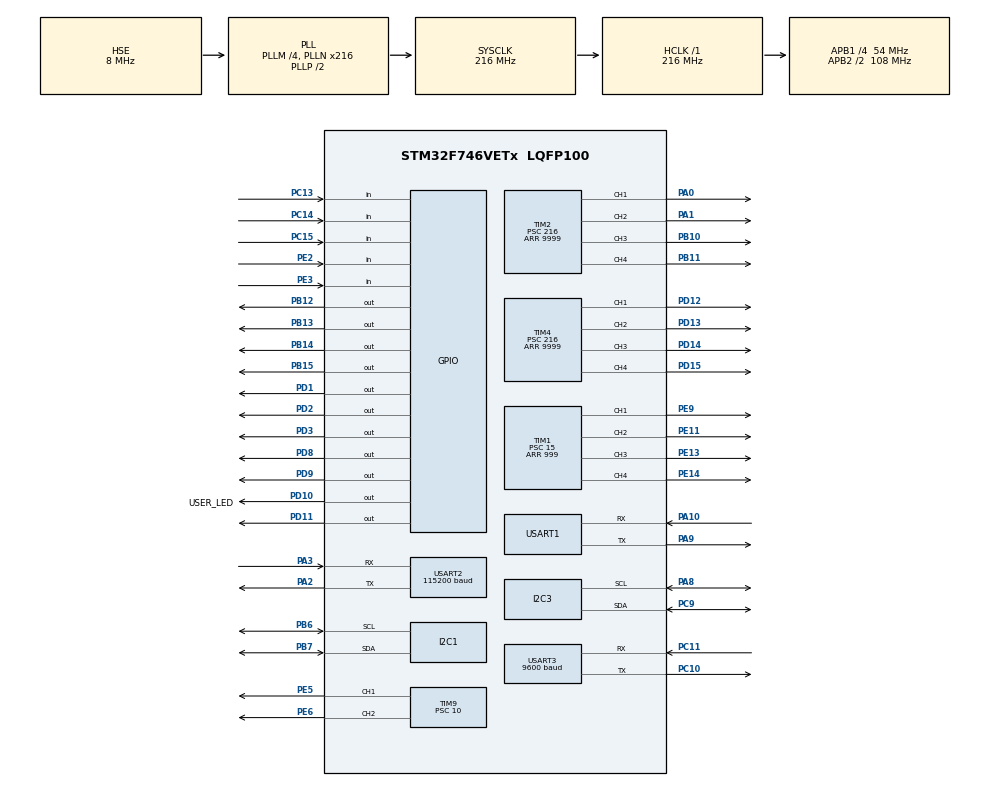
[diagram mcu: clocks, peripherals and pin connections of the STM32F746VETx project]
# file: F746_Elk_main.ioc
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CORTEX_M7.ART_ACCLERATOR_ENABLE=1
CORTEX_M7.CPU_DCache=Enabled
CORTEX_M7.CPU_ICache=Enabled
CORTEX_M7.FlashInterface=TCM_Enabled
Dma.Request0=USART1_RX
Dma.USART1_RX.0.Direction=DMA_PERIPH_TO_MEMORY
Dma.USART1_RX.0.FIFOMode=DMA_FIFOMODE_DISABLE
Dma.USART1_RX.0.Instance=DMA2_Stream2
Dma.USART1_RX.0.MemDataAlignment=DMA_MDATAALIGN_BYTE
Dma.USART1_RX.0.MemInc=DMA_MINC_ENABLE
Dma.USART1_RX.0.Mode=DMA_CIRCULAR
Dma.USART1_RX.0.PeriphDataAlignment=DMA_PDATAALIGN_BYTE
Dma.USART1_RX.0.PeriphInc=DMA_PINC_DISABLE
Dma.USART1_RX.0.Priority=DMA_PRIORITY_MEDIUM
I2C1.I2C_Fall_Time=300
I2C1.I2C_Rise_Time=1000
I2C1.Timing=0x40D32A31
I2C3.I2C_Fall_Time=300
I2C3.I2C_Rise_Time=1000
I2C3.Timing=0x40D32A31
IWDG.Prescaler=IWDG_PRESCALER_32
Mcu.Family=STM32F7
Mcu.Name=STM32F746VETx
Mcu.Package=LQFP100
NVIC.DMA2_Stream2_IRQn=true\:1\:0\:true\:false\:true\:true
NVIC.PriorityGroup=NVIC_PRIORITYGROUP_4
NVIC.TIM6_DAC_IRQn=true\:3\:0\:true\:false\:true\:true
NVIC.USART1_IRQn=true\:2\:0\:true\:false\:true\:true
PA0/WKUP.Signal=S_TIM2_CH1_ETR
PA1.Signal=S_TIM2_CH2
PA10.Mode=Asynchronous
PA10.Signal=USART1_RX
PA13.Mode=Serial_Wire
PA13.Signal=SYS_JTMS-SWDIO
PA14.Mode=Serial_Wire
PA14.Signal=SYS_JTCK-SWCLK
PA2.Mode=Asynchronous
PA2.Signal=USART2_TX
PA3.Mode=Asynchronous
PA3.Signal=USART2_RX
PA8.Mode=I2C
PA8.Signal=I2C3_SCL
PA9.Mode=Asynchronous
PA9.Signal=USART1_TX
PB10.Signal=S_TIM2_CH3
PB11.Signal=S_TIM2_CH4
PB12.Signal=GPIO_Output
PB13.Signal=GPIO_Output
PB14.Signal=GPIO_Output
PB15.Signal=GPIO_Output
PB6.Mode=I2C
PB6.Signal=I2C1_SCL
PB7.Mode=I2C
PB7.Signal=I2C1_SDA
PC10.Mode=Asynchronous
PC10.Signal=USART3_TX
PC11.Mode=Asynchronous
PC11.Signal=USART3_RX
PC13.Signal=GPIO_Input
PC14/OSC32_IN.Signal=GPIO_Input
PC15/OSC32_OUT.Signal=GPIO_Input
PC9.Mode=I2C
PC9.Signal=I2C3_SDA
PD1.Signal=GPIO_Output
PD10.GPIO_Label=USER_LED
PD10.Signal=GPIO_Output
PD11.Signal=GPIO_Output
PD12.Signal=S_TIM4_CH1
PD13.Signal=S_TIM4_CH2
PD14.Signal=S_TIM4_CH3
PD15.Signal=S_TIM4_CH4
PD2.Signal=GPIO_Output
PD3.Signal=GPIO_Output
PD8.Signal=GPIO_Output
PD9.Signal=GPIO_Output
PE11.Signal=S_TIM1_CH2
PE13.Signal=S_TIM1_CH3
PE14.Signal=S_TIM1_CH4
PE2.Signal=GPIO_Input
PE3.Signal=GPIO_Input
PE5.Signal=S_TIM9_CH1
PE6.Signal=S_TIM9_CH2
PE9.Signal=S_TIM1_CH1
PH0/OSC_IN.Mode=HSE-External-Oscillator
PH0/OSC_IN.Signal=RCC_OSC_IN
PH1/OSC_OUT.Mode=HSE-External-Oscillator
PH1/OSC_OUT.Signal=RCC_OSC_OUT
ProjectManager.HeapSize=0x400
ProjectManager.StackSize=0x800
ProjectManager.TargetToolchain=TrueSTUDIO
RCC.AHBFreq_Value=216000000
RCC.APB1CLKDivider=RCC_HCLK_DIV4
RCC.APB1Freq_Value=54000000
RCC.APB1TimFreq_Value=108000000
RCC.APB2CLKDivider=RCC_HCLK_DIV2
RCC.APB2Freq_Value=108000000
RCC.APB2TimFreq_Value=216000000
RCC.CortexFreq_Value=216000000
RCC.HCLKFreq_Value=216000000
RCC.HSE_VALUE=8000000
RCC.HSI_VALUE=16000000
RCC.LSE_VALUE=32768
RCC.PLLM=4
RCC.PLLN=216
RCC.PLLSourceVirtual=RCC_PLLSOURCE_HSE
RCC.SYSCLKFreq_VALUE=216000000
RCC.SYSCLKSource=RCC_SYSCLKSOURCE_PLLCLK
RCC.USBFreq_Value=216000000
RCC.VCOOutputFreq_Value=432000000
SH.S_TIM1_CH1.0=TIM1_CH1,PWM Generation1 CH1
SH.S_TIM1_CH2.0=TIM1_CH2,PWM Generation2 CH2
SH.S_TIM1_CH3.0=TIM1_CH3,PWM Generation3 CH3
SH.S_TIM1_CH4.0=TIM1_CH4,PWM Generation4 CH4
SH.S_TIM2_CH1_ETR.0=TIM2_CH1,PWM Generation1 CH1
SH.S_TIM2_CH2.0=TIM2_CH2,PWM Generation2 CH2
SH.S_TIM2_CH3.0=TIM2_CH3,PWM Generation3 CH3
SH.S_TIM2_CH4.0=TIM2_CH4,PWM Generation4 CH4
SH.S_TIM4_CH1.0=TIM4_CH1,PWM Generation1 CH1
SH.S_TIM4_CH2.0=TIM4_CH2,PWM Generation2 CH2
SH.S_TIM4_CH3.0=TIM4_CH3,PWM Generation3 CH3
SH.S_TIM4_CH4.0=TIM4_CH4,PWM Generation4 CH4
SH.S_TIM9_CH1.0=TIM9_CH1,PWM Generation1 CH1
SH.S_TIM9_CH2.0=TIM9_CH2,PWM Generation2 CH2
TIM1.Channel-PWM\ Generation1\ CH1=TIM_CHANNEL_1
TIM1.Channel-PWM\ Generation2\ CH2=TIM_CHANNEL_2
TIM1.Channel-PWM\ Generation3\ CH3=TIM_CHANNEL_3
TIM1.Channel-PWM\ Generation4\ CH4=TIM_CHANNEL_4
TIM1.Period=999
TIM1.Prescaler=15
TIM2.Channel-PWM\ Generation1\ CH1=TIM_CHANNEL_1
TIM2.Channel-PWM\ Generation2\ CH2=TIM_CHANNEL_2
TIM2.Channel-PWM\ Generation3\ CH3=TIM_CHANNEL_3
TIM2.Channel-PWM\ Generation4\ CH4=TIM_CHANNEL_4
TIM2.Period=9999
TIM2.Prescaler=216
TIM4.Channel-PWM\ Generation1\ CH1=TIM_CHANNEL_1
TIM4.Channel-PWM\ Generation2\ CH2=TIM_CHANNEL_2
TIM4.Channel-PWM\ Generation3\ CH3=TIM_CHANNEL_3
TIM4.Channel-PWM\ Generation4\ CH4=TIM_CHANNEL_4
TIM4.Period=9999
TIM4.Prescaler=216
TIM6.Period=50000-1
TIM6.Prescaler=432
TIM9.Channel-PWM\ Generation1\ CH1=TIM_CHANNEL_1
TIM9.Channel-PWM\ Generation2\ CH2=TIM_CHANNEL_2
TIM9.Period=999
TIM9.Prescaler=10
USART1.VirtualMode-Asynchronous=VM_ASYNC
USART1.WordLength=WORDLENGTH_8B
USART2.BaudRate=115200
USART2.VirtualMode-Asynchronous=VM_ASYNC
USART2.WordLength=WORDLENGTH_8B
USART3.BaudRate=9600
USART3.VirtualMode-Asynchronous=VM_ASYNC
USART3.WordLength=WORDLENGTH_8B
VP_IWDG_VS_IWDG.Mode=IWDG_Activate
VP_TIM6_VS_ClockSourceINT.Mode=Enable_Timer
board=F746_Elk_main

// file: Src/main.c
/**
  ******************************************************************************
  * File Name          : main.c
  * Description        : Main program body
  ******************************************************************************
  ** This notice applies to any and all portions of this file
  * that are not between comment pairs USER CODE BEGIN and
  * USER CODE END. Other portions of this file, whether
  * inserted by the user or by software development tools
  * are owned by their respective copyright owners.
  *
  * COPYRIGHT(c) 2017 STMicroelectronics
  *
  * Redistribution and use in source and binary forms, with or without modification,
  * are permitted provided that the following conditions are met:
  *   1. Redistributions of source code must retain the above copyright notice,
  *      this list of conditions and the following disclaimer.
  *   2. Redistributions in binary form must reproduce the above copyright notice,
  *      this list of conditions and the following disclaimer in the documentation
  *      and/or other materials provided with the distribution.
  *   3. Neither the name of STMicroelectronics nor the names of its contributors
  *      may be used to endorse or promote products derived from this software
  *      without specific prior written permission.
  *
  * THIS SOFTWARE IS PROVIDED BY THE COPYRIGHT HOLDERS AND CONTRIBUTORS "AS IS"
  * AND ANY EXPRESS OR IMPLIED WARRANTIES, INCLUDING, BUT NOT LIMITED TO, THE
  * IMPLIED WARRANTIES OF MERCHANTABILITY AND FITNESS FOR A PARTICULAR PURPOSE ARE
  * DISCLAIMED. IN NO EVENT SHALL THE COPYRIGHT HOLDER OR CONTRIBUTORS BE LIABLE
  * FOR ANY DIRECT, INDIRECT, INCIDENTAL, SPECIAL, EXEMPLARY, OR CONSEQUENTIAL
  * DAMAGES (INCLUDING, BUT NOT LIMITED TO, PROCUREMENT OF SUBSTITUTE GOODS OR
  * SERVICES; LOSS OF USE, DATA, OR PROFITS; OR BUSINESS INTERRUPTION) HOWEVER
  * CAUSED AND ON ANY THEORY OF LIABILITY, WHETHER IN CONTRACT, STRICT LIABILITY,
  * OR TORT (INCLUDING NEGLIGENCE OR OTHERWISE) ARISING IN ANY WAY OUT OF THE USE
  * OF THIS SOFTWARE, EVEN IF ADVISED OF THE POSSIBILITY OF SUCH DAMAGE.
  *
  ******************************************************************************
  */

#include "main.h"
#include "stm32f7xx_hal.h"
#include "dma.h"
#include "i2c.h"
#include "iwdg.h"
#include "tim.h"
#include "usart.h"
#include "gpio.h"

/* USER CODE BEGIN Includes */
#include "management.h"
/* USER CODE END Includes */

/* USER CODE BEGIN PV */
#define servonumber 3
uint8_t flug_Rxdata=0;
uint8_t TPIPConnect=0;
uint8_t data[7+servonumber],tempdata[7+servonumber];
uint8_t Rxbuf[8+servonumber];
uint8_t Rxdetatemp;
uint8_t Txdata[1];
/* Private variables ---------------------------------------------------------*/
/* USER CODE END PV */

void SystemClock_Config(void);

/* USER CODE BEGIN PFP */
/* Private function prototypes -----------------------------------------------*/
void Calibration();
void HAL_UART_RxCpltCallback(UART_HandleTypeDef *huart);
void HAL_TIM_PeriodElapsedCallback(TIM_HandleTypeDef *htim);
/* USER CODE END PFP */

int main(void)
{

  /* USER CODE BEGIN 1 */
	//Tim1 14.4KHz
	//Tim2 50Hz
	//Tim4 50Hz
	//Tim6 20Hz
	//Tim9 50Hz
  /* USER CODE END 1 */

  /* Enable I-Cache-------------------------------------------------------------*/
  SCB_EnableICache();

  /* Enable D-Cache-------------------------------------------------------------*/
  SCB_EnableDCache();

  /* MCU Configuration----------------------------------------------------------*/

  /* Reset of all peripherals, Initializes the Flash interface and the Systick. */
  HAL_Init();

  /* Configure the system clock */
  SystemClock_Config();

  /* Initialize all configured peripherals */
  MX_GPIO_Init();
  MX_DMA_Init();
  MX_TIM1_Init();
  MX_I2C1_Init();
  MX_USART1_UART_Init();
  MX_USART2_UART_Init();
  MX_TIM2_Init();
  MX_I2C3_Init();
  MX_TIM4_Init();
  MX_TIM9_Init();
  MX_TIM6_Init();
  MX_USART3_UART_Init();
  //MX_IWDG_Init();

  /* USER CODE BEGIN 2 */
  	if(HAL_GPIO_ReadPin(GPIOE,GPIO_PIN_7)==1){
  	  MX_IWDG_Init();
  	}
  	else{
  		beep(10,30,30);
  	}
  	servo(180,180,180,90,90,90,90,90);
    motor_move(0,0,0,0);
	slider(10,0);
    HAL_GPIO_WritePin(GPIOB,GPIO_PIN_13,0);
    HAL_GPIO_WritePin(GPIOD,GPIO_PIN_9,0);
    HAL_TIM_Base_Start_IT(&htim6);
    if (HAL_UART_Receive_DMA(&huart1, (uint8_t *)Rxbuf,(8+servonumber)) != HAL_OK){Error_Handler();}

    xprintf_init(&huart2);
    JY901_init(&hi2c1);
    DFPlayer_init(&huart3);
    oled_i2c_to_oled(&hi2c1);

    HAL_IWDG_Refresh(&hiwdg);
    oled_returnhome();
    oled_puts("Is The Order a");
    oled_setcursor(1,2);
    oled_puts("Rescue Robot?");
    HAL_Delay(700);
    DFPlayer_setvolume(0x25);
    HAL_Delay(100);
    DFPlayer_playmp3(4);
    HAL_IWDG_Refresh(&hiwdg);
  	servo(180,180,180,90,90,90,90,90);
    HAL_Delay(1000);
    HAL_IWDG_Refresh(&hiwdg);
    HAL_Delay(1000);
    HAL_IWDG_Refresh(&hiwdg);
    oled_clear();
    CCS811_init(&hi2c1);

    HAL_IWDG_Refresh(&hiwdg);
   while(TPIPConnect==0){
		  HAL_GPIO_WritePin(GPIOB,GPIO_PIN_14,1);
	   if(HAL_GPIO_ReadPin(GPIOB,GPIO_PIN_2)==0){
		   if(HAL_GPIO_ReadPin(GPIOE,GPIO_PIN_7)==0){
		   Calibration();
		   HAL_IWDG_Refresh(&hiwdg);
		   }
		   else{
		   oled_returnhome();
		   oled_puts("waiting for     ");
		   oled_setcursor(1,0);
		   oled_puts("Calibration     ");
		   HAL_Delay(5);
		   HAL_IWDG_Refresh(&hiwdg);
	   }
	   }
	   else{
		   HAL_IWDG_Refresh(&hiwdg);
	  oled_returnhome();
	  oled_puts("waiting for     ");
	  oled_setcursor(1,0);
	  oled_puts("      connection");
	  if((environment_get()&0x00000001)==1){
		  HAL_GPIO_WritePin(GPIOD,GPIO_PIN_11,1);
	 }
	 else{
		  HAL_GPIO_WritePin(GPIOD,GPIO_PIN_11,0);
	 }
	  HOUI=JY901_yaw_get(HOUI_def);
	  xprintf("angle=%d",HOUI);
	  xprintf(" CO2=%d",CCS811_CO2_get());
	  for(int i=0; i<(8+servonumber);i++){xprintf(" %d=%d",i,Rxbuf[i]);}
	  xprintf("\r\n");
	  HAL_IWDG_Refresh(&hiwdg);
	  HAL_GPIO_TogglePin(GPIOD,GPIO_PIN_10);
	   servo(180,180,180,90,90,90,90,90);
	  motor_move(0,0,0,0);
	  slider(10,0);
	 }
  }
    DFPlayer_playmp3(5);
    oled_clear();
    oled_returnhome();
    oled_puts("Connect to TPIP ");
    oled_setcursor(1,0);
    oled_puts("      Success!!!");
    beep(3,50,50);
	HAL_Delay(150);
	counttime=0;
	HOUI_def=JY901_def_set();
  /* USER CODE END 2 */

  /* Infinite loop */
  while (1)
  {

  /* USER CODE BEGIN 3 */
	  if(HAL_GPIO_ReadPin(GPIOB,GPIO_PIN_2)==0){
	 		   if(HAL_GPIO_ReadPin(GPIOE,GPIO_PIN_7)==0){
	 		   Calibration();
	 		  HAL_IWDG_Refresh(&hiwdg);}
	 		   else{
	 		   oled_returnhome();
	 		   oled_puts("waiting for     ");
	 		   oled_setcursor(1,0);
	 		   oled_puts("Calibration     ");
	 		   servo(180,180,180,90,90,90,90,90);
			   slider(10,0);
	 		   motor_move(0,0,0,0);
	 		   HAL_IWDG_Refresh(&hiwdg);
	 		   HAL_Delay(5);
	 		   }
	  }
	  else{
	  if(TPIPConnect==1){
		  motor_move(data[0],data[1],data[2],data[3]);
		  if(HAL_GPIO_ReadPin(GPIOE,GPIO_PIN_2)==0){//flont
			  if(data[4]==100){
				  slider(10,0);
			  }
			  else{
				  slider(data[4],data[5]);
			  }
		  }
		  else if(HAL_GPIO_ReadPin(GPIOE,GPIO_PIN_3)==0){//back
			  if(data[4]==200){
				  slider(10,0);
			  }
			  else{
				  slider(data[4],data[5]);
			  }
		  }
		  else{
			  slider(data[4],data[5]);
		  }
		  servo(data[6],data[6],data[6],data[7],data[8],90,90,90);

		  //LCD表示
		  if(flug_Rxdata==1){
		  oled_returnhome();
		  oled_puts("connection      ");
		  oled_setcursor(1,0);
		switch(data[0]){
		case 10:
			switch (data[2]) {
				case 100:oled_puts("mR = 0  mL = +  ");break;
				case 200:oled_puts("mR = 0  mL = -  ");break;
				case 150:oled_puts("mR = 0  mL = +  ");break;
				case 250:oled_puts("mR = 0  mL = -  ");	break;
				case 10: oled_puts ("mR = 0  mL = 0  ");	break;
			}
		break;

		case 100:
			switch(data[2]){
				case 100:oled_puts("mR = +  mL = +  ");break;
				case 200:oled_puts("mR = +  mL = -  ");break;
				case 150:oled_puts("mR = +  mL = +  ");break;
				case 250:oled_puts("mR = +  mL = -  ");break;
				case 10: oled_puts("mR = +  mL = 0  ");break;
			}
		break;

		case 200:
			switch(data[2]){
				case 100:oled_puts("mR = -  mL = +  ");break;
				case 200:oled_puts("mR = -  mL = -  ");	break;
				case 150:oled_puts("mR = -  mL = +  ");break;
				case 250:oled_puts("mR = -  mL = -  ");	break;
				case 10: oled_puts("mR = -  mL = 0  ");break;
			}
		break;

		case 150:
			switch(data[2]){
				case 100:oled_puts("mR = +  mL = +  ");break;
				case 200:oled_puts("mR = +  mL = -  ");break;
				case 150:oled_puts("mR = +  mL = +  ");break;
				case 250:oled_puts("mR = +  mL = -  ");break;
				case 10:oled_puts("mR = +  mL = 0  ");break;
			}
		break;

		case 250:
			switch(data[2]){
				case 100:oled_puts("mR = -  mL = +  ");break;
				case 200:oled_puts("mR = -  mL = -  ");	break;
				case 150:oled_puts("mR = -  mL = +  ");break;
				case 250:oled_puts("mR = -  mL = -  ");	break;
				case 10:oled_puts("mR = -  mL = 0  ");break;
			}
			break;
		default:oled_puts("no data         ");break;
		}

		  //xprintf(" SW1=%d",HAL_GPIO_ReadPin(GPIOE,GPIO_PIN_2));
		  //xprintf(" SW2=%d",HAL_GPIO_ReadPin(GPIOE,GPIO_PIN_3));
		  /*xprintf(" D0=%d",data[0]);
		  xprintf(" D1=%d",data[1]);
		  xprintf(" D2=%d",data[2]);
		  xprintf(" D3=%d",data[3]);
		  xprintf(" D4=%d",data[4]);
		  xprintf(" D5=%d",data[5]);
		  xprintf(" D6=%d",data[6]);
		  xprintf(" D7=%d",data[7]);
		  xprintf(" D8=%d",data[8]);*/
		  xprintf(" CO2=%d",CCS811_CO2_get());
		  //xprintf(" motorR=%d",motorR);
		  //xprintf(" motorL=%d",motorL);
		  xprintf(" Hd=%d",HOUI_def);
		  xprintf(" H=%d",HOUI);
		  xprintf(" D9=%d\r\n",data[9]);

		flug_Rxdata=0;
		}
		for(int count=0;count<(7+servonumber);count++){
			tempdata[count]=data[count];
		}
		if(counttime>70){
				  if((environment_get()&0x00000001)==1){
					  DFPlayer_playmp3(2);
					  HAL_GPIO_WritePin(GPIOD,GPIO_PIN_11,1);
				 }
				 else{
					  HAL_GPIO_WritePin(GPIOD,GPIO_PIN_11,0);
					  DFPlayer_playmp3(1);
				 }
					counttime=0;
					HAL_GPIO_TogglePin(GPIOB,GPIO_PIN_12);
				}

		HAL_GPIO_WritePin(GPIOB,GPIO_PIN_14,1);
	  }
	  else{
		  motor_move(0,0,0,0);
		  servo(tempdata[6],tempdata[6],tempdata[6],tempdata[7]
			   ,tempdata[8],90,90,90);
		  for(int i=0; i<(8+servonumber);i++){xprintf(" %d=%d",i,Rxbuf[i]);}
		  HAL_GPIO_WritePin(GPIOB,GPIO_PIN_14,0);
		  oled_returnhome();
		  oled_puts("disconnection   ");
		  oled_setcursor(1,0);
		  oled_puts("all motor stop  ");
		  beep(1,300,100);
	  }
	 }
	  HAL_IWDG_Refresh(&hiwdg);
	  HAL_GPIO_TogglePin(GPIOD,GPIO_PIN_10);
  }
  /* USER CODE END 3 */

}

/** System Clock Configuration
*/
void SystemClock_Config(void)
{

  RCC_OscInitTypeDef RCC_OscInitStruct;
  RCC_ClkInitTypeDef RCC_ClkInitStruct;
  RCC_PeriphCLKInitTypeDef PeriphClkInitStruct;

    /**Configure the main internal regulator output voltage
    */
  __HAL_RCC_PWR_CLK_ENABLE();

  __HAL_PWR_VOLTAGESCALING_CONFIG(PWR_REGULATOR_VOLTAGE_SCALE1);

    /**Initializes the CPU, AHB and APB busses clocks
    */
  RCC_OscInitStruct.OscillatorType = RCC_OSCILLATORTYPE_LSI|RCC_OSCILLATORTYPE_HSE;
  RCC_OscInitStruct.HSEState = RCC_HSE_ON;
  RCC_OscInitStruct.LSIState = RCC_LSI_ON;
  RCC_OscInitStruct.PLL.PLLState = RCC_PLL_ON;
  RCC_OscInitStruct.PLL.PLLSource = RCC_PLLSOURCE_HSE;
  RCC_OscInitStruct.PLL.PLLM = 4;
  RCC_OscInitStruct.PLL.PLLN = 216;
  RCC_OscInitStruct.PLL.PLLP = RCC_PLLP_DIV2;
  RCC_OscInitStruct.PLL.PLLQ = 2;
  if (HAL_RCC_OscConfig(&RCC_OscInitStruct) != HAL_OK)
  {
    _Error_Handler(__FILE__, __LINE__);
  }

    /**Activate the Over-Drive mode
    */
  if (HAL_PWREx_EnableOverDrive() != HAL_OK)
  {
    _Error_Handler(__FILE__, __LINE__);
  }

    /**Initializes the CPU, AHB and APB busses clocks
    */
  RCC_ClkInitStruct.ClockType = RCC_CLOCKTYPE_HCLK|RCC_CLOCKTYPE_SYSCLK
                              |RCC_CLOCKTYPE_PCLK1|RCC_CLOCKTYPE_PCLK2;
  RCC_ClkInitStruct.SYSCLKSource = RCC_SYSCLKSOURCE_PLLCLK;
  RCC_ClkInitStruct.AHBCLKDivider = RCC_SYSCLK_DIV1;
  RCC_ClkInitStruct.APB1CLKDivider = RCC_HCLK_DIV4;
  RCC_ClkInitStruct.APB2CLKDivider = RCC_HCLK_DIV2;

  if (HAL_RCC_ClockConfig(&RCC_ClkInitStruct, FLASH_LATENCY_7) != HAL_OK)
  {
    _Error_Handler(__FILE__, __LINE__);
  }

  PeriphClkInitStruct.PeriphClockSelection = RCC_PERIPHCLK_USART1|RCC_PERIPHCLK_USART2
                              |RCC_PERIPHCLK_USART3|RCC_PERIPHCLK_I2C1
                              |RCC_PERIPHCLK_I2C3;
  PeriphClkInitStruct.Usart1ClockSelection = RCC_USART1CLKSOURCE_PCLK2;
  PeriphClkInitStruct.Usart2ClockSelection = RCC_USART2CLKSOURCE_PCLK1;
  PeriphClkInitStruct.Usart3ClockSelection = RCC_USART3CLKSOURCE_PCLK1;
  PeriphClkInitStruct.I2c1ClockSelection = RCC_I2C1CLKSOURCE_PCLK1;
  PeriphClkInitStruct.I2c3ClockSelection = RCC_I2C3CLKSOURCE_PCLK1;
  if (HAL_RCCEx_PeriphCLKConfig(&PeriphClkInitStruct) != HAL_OK)
  {
    _Error_Handler(__FILE__, __LINE__);
  }

    /**Configure the Systick interrupt time
    */
  HAL_SYSTICK_Config(HAL_RCC_GetHCLKFreq()/1000);

    /**Configure the Systick
    */
  HAL_SYSTICK_CLKSourceConfig(SYSTICK_CLKSOURCE_HCLK);

  /* SysTick_IRQn interrupt configuration */
  HAL_NVIC_SetPriority(SysTick_IRQn, 0, 0);
}

/* USER CODE BEGIN 4 */

void Calibration(){
	DFPlayer_playmp3(8);
  	servo(180,180,180,90,90,90,90,90);
	motor_move(0,0,0,0);
    slider(10,0);
	oled_clear();
	oled_returnhome();
	oled_puts("Angular velocity");
	oled_setcursor(1,0);
	oled_puts("    Calibration ");
	JY901_calibration(1600,1);
	oled_clear();
	oled_returnhome();
	oled_puts("Magnetic");
	oled_setcursor(1,0);
	oled_puts(" Calibration  RS");
	xprintf("houi cab\r\n");
	motor_move(100,100,200,100);
	JY901_calibration(10000,2);
	oled_clear();
	oled_returnhome();
	oled_puts("Calibration End ");
	motor_move(0,0,0,0);
	xprintf("cab end\r\n");
	JY901_calibration(100,3);
	xprintf("save\r\n");
	JY901_calibration(100,4);
	DFPlayer_stopmp3();
}

void HAL_TIM_PeriodElapsedCallback(TIM_HandleTypeDef *htim)
{
		 counttime++;
	 if(Rxdetatemp!=data[servonumber+6] || HAL_GPIO_ReadPin(GPIOC,GPIO_PIN_13)==0){
		 TPIPConnect=1;
		 HAL_GPIO_WritePin(GPIOB,GPIO_PIN_15,1);
	 }
	 else{
		 TPIPConnect=0;
		 HAL_GPIO_TogglePin(GPIOB,GPIO_PIN_15);
	 }
	 Rxdetatemp=data[servonumber+6];
}

void HAL_UART_RxCpltCallback(UART_HandleTypeDef *huart){
	int j = 0;
	while (Rxbuf[j] != 254 && j<(7+servonumber)) {
		j++;
	}
	if(j>=(7+servonumber)){
		for (int k = 0; k < 6; k++) {
			data[k] = 0;
		}
		for(int k=6;k<(6+servonumber);k++){
			data[k]=90;
		}
		data[6+servonumber]=0;
	}
	else {
		for (int k = 0; k < (7+servonumber); k++) {
			if ((j + k) >= (7+servonumber)) {
				data[k] = Rxbuf[k - ((7+servonumber) - j)];
			}
			else {
				data[k] = Rxbuf[j + k + 1];
			}
		}
		flug_Rxdata=1;
	}
	}
/* USER CODE END 4 */

void _Error_Handler(char * file, int line)
{
  /* USER CODE BEGIN Error_Handler_Debug */
  /* User can add his own implementation to report the HAL error return state */
  while(1)
  {
	  HAL_GPIO_WritePin(GPIOD,GPIO_PIN_9,1);
  }
  /* USER CODE END Error_Handler_Debug */
}

/************************ (C) COPYRIGHT STMicroelectronics *****END OF FILE****/
